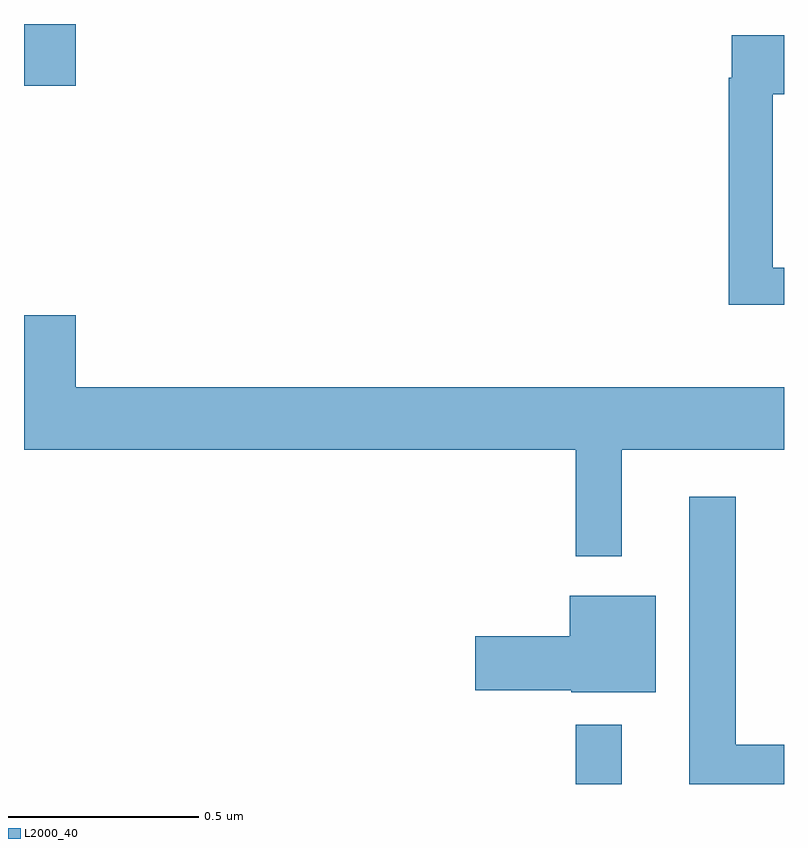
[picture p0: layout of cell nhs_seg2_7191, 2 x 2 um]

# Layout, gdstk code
import gdstk
lib = gdstk.Library(unit=1e-6, precision=1e-09)
def R(c, l, rs):  # rectangles x0, y0, x1, y1
    for r in rs: c.add(gdstk.rectangle(r[:2], r[2:], *l))
def P(c, l, *ps):  # polygons
    for p in ps: c.add(gdstk.Polygon(p, *l))
L2000_40 = (2000, 40)

nhs_seg2_7191 = lib.new_cell('nhs_seg2_7191')
R(nhs_seg2_7191, L2000_40, [(202.452,602.8,202.573,602.956), (201,604.638,201.136,604.8)])
P(nhs_seg2_7191, L2000_40, [(203,604.158),(202.971,604.158),(202.971,604.615),(203,604.615),(203,604.771),(202.863,604.771),(202.863,604.658),(202.855,604.658),(202.855,604.061),(203,604.061)],
  [(202.573,603.68),(203,603.68),(203,603.844),(201.136,603.844),(201.136,604.033),(201,604.033),(201,603.68),(202.452,603.68),(202.452,603.399),(202.573,603.399)],
  [(203,602.903),(202.873,602.903),(202.873,603.556),(202.751,603.556),(202.751,602.8),(203,602.8)],
  [(202.663,603.295),(202.436,603.295),(202.436,603.189),(202.188,603.189),(202.188,603.047),(202.44,603.047),(202.44,603.041),(202.663,603.041)])

lib.write_gds('nhs_seg2_7191.gds')
